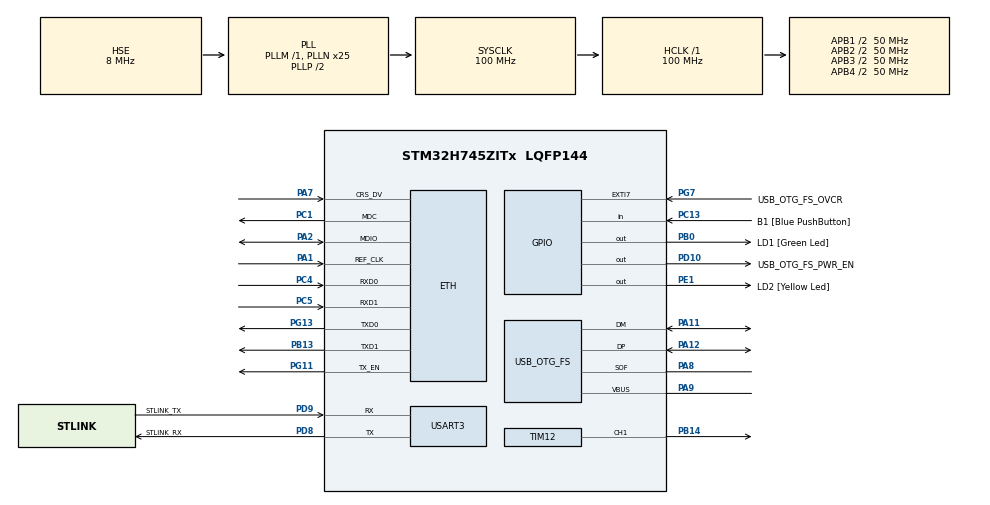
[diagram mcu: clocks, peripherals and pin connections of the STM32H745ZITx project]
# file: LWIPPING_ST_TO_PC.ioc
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CORTEX_M7.AccessPermission-Cortex_Memory_Protection_Unit_Region0_Settings=MPU_REGION_FULL_ACCESS
CORTEX_M7.AccessPermission-Cortex_Memory_Protection_Unit_Region1_Settings=MPU_REGION_FULL_ACCESS
CORTEX_M7.BaseAddress-Cortex_Memory_Protection_Unit_Region0_Settings=0x30040000
CORTEX_M7.BaseAddress-Cortex_Memory_Protection_Unit_Region1_Settings=0x30044000
CORTEX_M7.CPU_DCache=Enabled
CORTEX_M7.CPU_ICache=Enabled
CORTEX_M7.Enable-Cortex_Memory_Protection_Unit_Region0_Settings=MPU_REGION_ENABLE
CORTEX_M7.Enable-Cortex_Memory_Protection_Unit_Region1_Settings=MPU_REGION_ENABLE
CORTEX_M7.IsBufferable-Cortex_Memory_Protection_Unit_Region0_Settings=MPU_ACCESS_BUFFERABLE
CORTEX_M7.IsShareable-Cortex_Memory_Protection_Unit_Region1_Settings=MPU_ACCESS_SHAREABLE
CORTEX_M7.MPU_Control=MPU_PRIVILEGED_DEFAULT
CORTEX_M7.Size-Cortex_Memory_Protection_Unit_Region0_Settings=MPU_REGION_SIZE_256B
CORTEX_M7.Size-Cortex_Memory_Protection_Unit_Region1_Settings=MPU_REGION_SIZE_16KB
CORTEX_M7.TypeExtField-Cortex_Memory_Protection_Unit_Region1_Settings=MPU_TEX_LEVEL1
CortexM4.IPs=FATFS_M4\:I,FREERTOS_M4\:I,IWDG2\:I,RCC,WWDG2\:I,DMA,BDMA,MDMA,NVIC2\:I,USART3,ETH,DEBUG,USB_DEVICE_M4\:I,USB_HOST_M4\:I,PDM2PCM_M4\:I,PWR,RESMGR_UTILITY,SYS_M4\:I,CORTEX_M4\:I,OPENAMP_M4\:I,VREFBUF,GPIO
CortexM7.IPs=FATFS_M7\:I,FREERTOS_M7\:I,IWDG1\:I,RCC\:I,WWDG1\:I,DMA\:I,BDMA\:I,MDMA\:I,NVIC1\:I,SYS\:I,USART3\:I,USB_OTG_FS\:I,ETH\:I,CORTEX_M7\:I,DEBUG\:I,USB_DEVICE_M7\:I,USB_HOST_M7\:I,PDM2PCM_M7\:I,PWR\:I,RESMGR_UTILITY\:I,OPENAMP_M7\:I,VREFBUF\:I,GPIO\:I,LWIP\:I,TIM12\:I
ETH.MediaInterface=HAL_ETH_RMII_MODE
LWIP.ETHARP_SUPPORT_STATIC_ENTRIES=1
LWIP.GATEWAY_ADDRESS=000.000.000.000
LWIP.IP_ADDRESS=192.168.000.123
LWIP.LWIP_AUTOIP=1
LWIP.LWIP_BROADCAST_PING=1
LWIP.LWIP_DHCP=0
LWIP.LWIP_MIB2_CALLBACKS=0
LWIP.LWIP_MULTICAST_PING=1
LWIP.NETMASK_ADDRESS=255.255.255.000
LWIP.Version=v2.1.2_Cube
Mcu.Family=STM32H7
Mcu.Name=STM32H745ZITx
Mcu.Package=LQFP144
NVIC1.ETH_IRQn=true\:0\:0\:false\:false\:true\:true\:true\:true
NVIC1.PriorityGroup=NVIC_PRIORITYGROUP_4
NVIC2.PriorityGroup=NVIC_PRIORITYGROUP_4
PA1.Mode=RMII
PA1.PinAttribute=CortexM7
PA1.Signal=ETH_REF_CLK
PA11.Mode=Device_Only
PA11.PinAttribute=CortexM7
PA11.Signal=USB_OTG_FS_DM
PA12.Mode=Device_Only
PA12.PinAttribute=CortexM7
PA12.Signal=USB_OTG_FS_DP
PA2.Mode=RMII
PA2.PinAttribute=CortexM7
PA2.Signal=ETH_MDIO
PA7.Mode=RMII
PA7.PinAttribute=CortexM7
PA7.Signal=ETH_CRS_DV
PA8.Mode=Activate_SOF_FS
PA8.PinAttribute=CortexM7
PA8.Signal=USB_OTG_FS_SOF
PA9.Mode=Activate_VBUS
PA9.PinAttribute=CortexM7
PA9.Signal=USB_OTG_FS_VBUS
PB0.GPIO_Label=LD1 [Green Led]
PB0.PinAttribute=Free
PB0.Signal=GPIO_Output
PB13.Mode=RMII
PB13.PinAttribute=CortexM7
PB13.Signal=ETH_TXD1
PB14.PinAttribute=CortexM7
PB14.Signal=S_TIM12_CH1
PC1.Mode=RMII
PC1.PinAttribute=CortexM7
PC1.Signal=ETH_MDC
PC13.GPIO_Label=B1 [Blue PushButton]
PC13.PinAttribute=Free
PC13.Signal=GPIO_Input
PC14-OSC32_IN\ (OSC32_IN).Mode=LSE-External-Oscillator
PC14-OSC32_IN\ (OSC32_IN).PinAttribute=CortexM7
PC14-OSC32_IN\ (OSC32_IN).Signal=RCC_OSC32_IN
PC15-OSC32_OUT\ (OSC32_OUT).Mode=LSE-External-Oscillator
PC15-OSC32_OUT\ (OSC32_OUT).PinAttribute=CortexM7
PC15-OSC32_OUT\ (OSC32_OUT).Signal=RCC_OSC32_OUT
PC4.Mode=RMII
PC4.PinAttribute=CortexM7
PC4.Signal=ETH_RXD0
PC5.Mode=RMII
PC5.PinAttribute=CortexM7
PC5.Signal=ETH_RXD1
PD10.GPIO_Label=USB_OTG_FS_PWR_EN
PD10.PinAttribute=Free
PD10.Signal=GPIO_Output
PD8.GPIO_Label=STLINK_RX
PD8.Mode=Asynchronous
PD8.PinAttribute=CortexM7
PD8.Signal=USART3_TX
PD9.GPIO_Label=STLINK_TX
PD9.Mode=Asynchronous
PD9.PinAttribute=CortexM7
PD9.Signal=USART3_RX
PE1.GPIO_Label=LD2 [Yellow Led]
PE1.PinAttribute=Free
PE1.Signal=GPIO_Output
PG11.Mode=RMII
PG11.PinAttribute=CortexM7
PG11.Signal=ETH_TX_EN
PG13.Mode=RMII
PG13.PinAttribute=CortexM7
PG13.Signal=ETH_TXD0
PG7.GPIO_Label=USB_OTG_FS_OVCR
PG7.PinAttribute=Free
PG7.Signal=GPXTI7
PH0-OSC_IN\ (PH0).Mode=HSE-External-Clock-Source
PH0-OSC_IN\ (PH0).PinAttribute=CortexM7
PH0-OSC_IN\ (PH0).Signal=RCC_OSC_IN
PH1-OSC_OUT\ (PH1).PinAttribute=CortexM7
PH1-OSC_OUT\ (PH1).Signal=RCC_OSC_OUT
ProjectManager.HeapSize=M4-0x200,M7-0x200
ProjectManager.StackSize=M4-0x400,M7-0x400
ProjectManager.TargetToolchain=STM32CubeIDE
RCC.ADCFreq_Value=16125000
RCC.APB1Freq_Value=50000000
RCC.APB2Freq_Value=50000000
RCC.APB3Freq_Value=50000000
RCC.APB4Freq_Value=50000000
RCC.CortexFreq_Value=100000000
RCC.D1PPRE=RCC_APB3_DIV2
RCC.D2PPRE1=RCC_APB1_DIV2
RCC.D2PPRE2=RCC_APB2_DIV2
RCC.D3PPRE=RCC_APB4_DIV2
RCC.DIVM1=1
RCC.DIVM3=1
RCC.DIVN1=25
RCC.DIVN3=18
RCC.DIVQ3=3
RCC.HCLKFreq_Value=100000000
RCC.HSE_VALUE=8000000
RCC.PLL2FRACN=0
RCC.PLL3FRACN=6144
RCC.PLLFRACN=0
RCC.SYSCLKFreq_VALUE=100000000
RCC.SYSCLKSource=RCC_SYSCLKSOURCE_PLLCLK
RCC.SupplySource=PWR_DIRECT_SMPS_SUPPLY
RCC.USBCLockSelection=RCC_USBCLKSOURCE_PLL3
RCC.USBFreq_Value=50000000
SH.S_TIM12_CH1.0=TIM12_CH1,PWM Generation1 CH1
TIM12.Channel-PWM\ Generation1\ CH1=TIM_CHANNEL_1
TIM12.Period=2-1
TIM12.Prescaler=1-1
TIM12.Pulse-PWM\ Generation1\ CH1=1
USART3.VirtualMode-Asynchronous=VM_ASYNC
USB_OTG_FS.VirtualMode=Device_Only
VP_LWIP_VS_Enabled.Mode=Enabled
VP_SYS_M4_VS_Systick.Mode=SysTick
board=NUCLEO-H745ZI-Q

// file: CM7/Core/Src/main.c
/* USER CODE BEGIN Header */
/**
  ******************************************************************************
  * @file           : main.c
  * @brief          : Main program body
  ******************************************************************************
  * @attention
  *
  * Copyright (c) 2023 STMicroelectronics.
  * All rights reserved.
  *
  * This software is licensed under terms that can be found in the LICENSE file
  * in the root directory of this software component.
  * If no LICENSE file comes with this software, it is provided AS-IS.
  *
  ******************************************************************************
  */
/* USER CODE END Header */
#include "main.h"
#include "lwip.h"

/* USER CODE BEGIN Includes */
#include "lwip/icmp.h"
#include "lwip/inet_chksum.h"
#include "string.h"
#include <stdlib.h>
#include "lwip/etharp.h"
/* USER CODE END Includes */

/* USER CODE BEGIN PD */

#ifndef HSEM_ID_0
#define HSEM_ID_0 (0U) /* HW semaphore 0*/
#endif

/* USER CODE END PD */

TIM_HandleTypeDef htim12;

UART_HandleTypeDef huart3;

PCD_HandleTypeDef hpcd_USB_OTG_FS;

void SystemClock_Config(void);
static void MPU_Config(void);
static void MX_GPIO_Init(void);
static void MX_USB_OTG_FS_PCD_Init(void);
static void MX_USART3_UART_Init(void);
static void MX_TIM12_Init(void);

/* USER CODE BEGIN 0 */

void send_icmp_ping(struct netif *netif)
{
  struct pbuf *p;
  struct pbuf *q;

  struct icmp_echo_hdr *icmphdr;
  struct ip_hdr *iphdr;

  ip_addr_t src_ip, dest_ip;

  // Set the source and destination IP addresses
  IP4_ADDR(&src_ip, 192, 168, 0, 123);
  IP4_ADDR(&dest_ip, 192, 168, 0, 156);
  // Get the network interface for the desired IP address

  q = pbuf_alloc(PBUF_IP, sizeof(struct icmp_echo_hdr), PBUF_RAM);
  p = pbuf_alloc(PBUF_IP, sizeof(struct icmp_echo_hdr) + IP_HLEN,
                   PBUF_RAM);

  iphdr = (struct ip_hdr *)p->payload;
  icmphdr = (struct icmp_echo_hdr *)q->payload;

  // configure the icmp header fields
  icmphdr->type = 8;
  icmphdr->code = 0;
  icmphdr->id = 0x5555;
  icmphdr->seqno = 1;
  icmphdr->chksum = 0;
  icmphdr->chksum = inet_chksum(icmphdr, sizeof(struct icmp_echo_hdr));

  // configure the ip header fields
  iphdr->_ttl = 255;
  iphdr->src.addr = src_ip.addr;
  iphdr->dest.addr = dest_ip.addr;
  iphdr->_tos = 0;
  iphdr->_offset = 0;
  iphdr->_proto = 1;
  iphdr->_v_hl = 0x45;
  iphdr->_id = 0xABCD;
  iphdr->_len = htons(46);
  iphdr->_chksum = 0;
  iphdr->_chksum = inet_chksum(iphdr, IP_HLEN);

  SMEMCPY((u8_t *)p->payload + (IP_HLEN), (u8_t *)q->payload,
		  sizeof(struct icmp_echo_hdr));

  etharp_request(netif, &dest_ip);

  struct eth_addr mac_src;
  struct eth_addr mac_dst;  // Destination MAC address
  //uint8_t mac_dst_addr[6] = {0x00, 0x80, 0xE1, 0x00, 0x00, 0x01};
  //uint8_t mac_dst_addr[6] = {0x9C, 0x7B, 0xEF, 0xC3, 0x8D, 0xF3};
  uint8_t mac_dst_addr[6] = {0x06, 0x06, 0x06, 0x06, 0x06, 0x05};
  memcpy(mac_src.addr, netif->hwaddr, 6);
  memcpy(mac_dst.addr, mac_dst_addr, 6);
  u16_t eth_type = ETHTYPE_IP;  // Ethernet type for IP packets

 if(ethernet_output(netif, p, &mac_src, &mac_dst, eth_type) != ERR_OK){
	 pbuf_free(q);
	 pbuf_free(p);
	 return;
 }
}
/* USER CODE END 0 */

int main(void)
{
/* USER CODE BEGIN Boot_Mode_Sequence_0 */
  //int32_t timeout;
/* USER CODE END Boot_Mode_Sequence_0 */

  /* MPU Configuration--------------------------------------------------------*/
  MPU_Config();

  /* Enable I-Cache---------------------------------------------------------*/
  SCB_EnableICache();

  /* Enable D-Cache---------------------------------------------------------*/
  SCB_EnableDCache();

/* USER CODE BEGIN Boot_Mode_Sequence_1 */
//  /* Wait until CPU2 boots and enters in stop mode or timeout*/
//  timeout = 0xFFFF;
//  while((__HAL_RCC_GET_FLAG(RCC_FLAG_D2CKRDY) != RESET) && (timeout-- > 0));
//  if ( timeout < 0 )
//  {
//  Error_Handler();
//  }
/* USER CODE END Boot_Mode_Sequence_1 */
  /* MCU Configuration--------------------------------------------------------*/

  /* Reset of all peripherals, Initializes the Flash interface and the Systick. */
  HAL_Init();

  /* Configure the system clock */
  SystemClock_Config();
/* USER CODE BEGIN Boot_Mode_Sequence_2 */
/* When system initialization is finished, Cortex-M7 will release Cortex-M4 by means of
HSEM notification */
///*HW semaphore Clock enable*/
//__HAL_RCC_HSEM_CLK_ENABLE();
///*Take HSEM */
//HAL_HSEM_FastTake(HSEM_ID_0);
///*Release HSEM in order to notify the CPU2(CM4)*/
//HAL_HSEM_Release(HSEM_ID_0,0);
///* wait until CPU2 wakes up from stop mode */
//timeout = 0xFFFF;
//while((__HAL_RCC_GET_FLAG(RCC_FLAG_D2CKRDY) == RESET) && (timeout-- > 0));
//if ( timeout < 0 )
//{
//Error_Handler();
//}
/* USER CODE END Boot_Mode_Sequence_2 */

  /* Initialize all configured peripherals */
  MX_GPIO_Init();
  MX_USB_OTG_FS_PCD_Init();
  MX_LWIP_Init();
  MX_USART3_UART_Init();
  MX_TIM12_Init();
  /* USER CODE BEGIN 2 */
  HAL_TIM_PWM_Start(&htim12, TIM_CHANNEL_1);
  SCB_CleanInvalidateDCache();
  ip_addr_t src_ip, dest_ip;
  struct netif *netif;
  struct pbuf *r = NULL;

  // Set the source and destination IP addresses
  IP4_ADDR(&src_ip, 192, 168, 0, 123);
  IP4_ADDR(&dest_ip, 192, 168, 0, 156);
  netif = ip4_route_src(&src_ip, &dest_ip);
  r = pbuf_alloc(PBUF_RAW_TX, SIZEOF_ETHARP_HDR, PBUF_RAM);

  /* USER CODE END 2 */

  /* Infinite loop */
  while (1)
  {

    /* USER CODE BEGIN 3 */
	  //MX_LWIP_Process();
	  //send_icmp_ping();
	  netif = ip4_route_src(&src_ip, &dest_ip);
	  etharp_request(netif, &dest_ip);
	  HAL_Delay(2000);
	  //ethernet_input(r, netif);
	  MX_LWIP_Process();
	  send_icmp_ping(netif);
	  HAL_Delay(2000);
	  MX_LWIP_Process();

  }
  /* USER CODE END 3 */
}

void SystemClock_Config(void)
{
  RCC_OscInitTypeDef RCC_OscInitStruct = {0};
  RCC_ClkInitTypeDef RCC_ClkInitStruct = {0};

  /** Supply configuration update enable
  */
  HAL_PWREx_ConfigSupply(PWR_DIRECT_SMPS_SUPPLY);

  /** Configure the main internal regulator output voltage
  */
  __HAL_PWR_VOLTAGESCALING_CONFIG(PWR_REGULATOR_VOLTAGE_SCALE3);

  while(!__HAL_PWR_GET_FLAG(PWR_FLAG_VOSRDY)) {}

  /** Initializes the RCC Oscillators according to the specified parameters
  * in the RCC_OscInitTypeDef structure.
  */
  RCC_OscInitStruct.OscillatorType = RCC_OSCILLATORTYPE_HSE;
  RCC_OscInitStruct.HSEState = RCC_HSE_BYPASS;
  RCC_OscInitStruct.PLL.PLLState = RCC_PLL_ON;
  RCC_OscInitStruct.PLL.PLLSource = RCC_PLLSOURCE_HSE;
  RCC_OscInitStruct.PLL.PLLM = 1;
  RCC_OscInitStruct.PLL.PLLN = 25;
  RCC_OscInitStruct.PLL.PLLP = 2;
  RCC_OscInitStruct.PLL.PLLQ = 2;
  RCC_OscInitStruct.PLL.PLLR = 2;
  RCC_OscInitStruct.PLL.PLLRGE = RCC_PLL1VCIRANGE_3;
  RCC_OscInitStruct.PLL.PLLVCOSEL = RCC_PLL1VCOWIDE;
  RCC_OscInitStruct.PLL.PLLFRACN = 0;
  if (HAL_RCC_OscConfig(&RCC_OscInitStruct) != HAL_OK)
  {
    Error_Handler();
  }

  /** Initializes the CPU, AHB and APB buses clocks
  */
  RCC_ClkInitStruct.ClockType = RCC_CLOCKTYPE_HCLK|RCC_CLOCKTYPE_SYSCLK
                              |RCC_CLOCKTYPE_PCLK1|RCC_CLOCKTYPE_PCLK2
                              |RCC_CLOCKTYPE_D3PCLK1|RCC_CLOCKTYPE_D1PCLK1;
  RCC_ClkInitStruct.SYSCLKSource = RCC_SYSCLKSOURCE_PLLCLK;
  RCC_ClkInitStruct.SYSCLKDivider = RCC_SYSCLK_DIV1;
  RCC_ClkInitStruct.AHBCLKDivider = RCC_HCLK_DIV1;
  RCC_ClkInitStruct.APB3CLKDivider = RCC_APB3_DIV2;
  RCC_ClkInitStruct.APB1CLKDivider = RCC_APB1_DIV2;
  RCC_ClkInitStruct.APB2CLKDivider = RCC_APB2_DIV2;
  RCC_ClkInitStruct.APB4CLKDivider = RCC_APB4_DIV2;

  if (HAL_RCC_ClockConfig(&RCC_ClkInitStruct, FLASH_LATENCY_2) != HAL_OK)
  {
    Error_Handler();
  }
}

static void MX_TIM12_Init(void)
{

  TIM_MasterConfigTypeDef sMasterConfig = {0};
  TIM_OC_InitTypeDef sConfigOC = {0};

  htim12.Instance = TIM12;
  htim12.Init.Prescaler = 1-1;
  htim12.Init.CounterMode = TIM_COUNTERMODE_UP;
  htim12.Init.Period = 2-1;
  htim12.Init.ClockDivision = TIM_CLOCKDIVISION_DIV1;
  htim12.Init.AutoReloadPreload = TIM_AUTORELOAD_PRELOAD_DISABLE;
  if (HAL_TIM_PWM_Init(&htim12) != HAL_OK)
  {
    Error_Handler();
  }
  sMasterConfig.MasterOutputTrigger = TIM_TRGO_RESET;
  sMasterConfig.MasterSlaveMode = TIM_MASTERSLAVEMODE_DISABLE;
  if (HAL_TIMEx_MasterConfigSynchronization(&htim12, &sMasterConfig) != HAL_OK)
  {
    Error_Handler();
  }
  sConfigOC.OCMode = TIM_OCMODE_PWM1;
  sConfigOC.Pulse = 1;
  sConfigOC.OCPolarity = TIM_OCPOLARITY_HIGH;
  sConfigOC.OCFastMode = TIM_OCFAST_DISABLE;
  if (HAL_TIM_PWM_ConfigChannel(&htim12, &sConfigOC, TIM_CHANNEL_1) != HAL_OK)
  {
    Error_Handler();
  }
  HAL_TIM_MspPostInit(&htim12);

}

static void MX_USART3_UART_Init(void)
{

  huart3.Instance = USART3;
  huart3.Init.BaudRate = 115200;
  huart3.Init.WordLength = UART_WORDLENGTH_8B;
  huart3.Init.StopBits = UART_STOPBITS_1;
  huart3.Init.Parity = UART_PARITY_NONE;
  huart3.Init.Mode = UART_MODE_TX_RX;
  huart3.Init.HwFlowCtl = UART_HWCONTROL_NONE;
  huart3.Init.OverSampling = UART_OVERSAMPLING_16;
  huart3.Init.OneBitSampling = UART_ONE_BIT_SAMPLE_DISABLE;
  huart3.Init.ClockPrescaler = UART_PRESCALER_DIV1;
  huart3.AdvancedInit.AdvFeatureInit = UART_ADVFEATURE_NO_INIT;
  if (HAL_UART_Init(&huart3) != HAL_OK)
  {
    Error_Handler();
  }
  if (HAL_UARTEx_SetTxFifoThreshold(&huart3, UART_TXFIFO_THRESHOLD_1_8) != HAL_OK)
  {
    Error_Handler();
  }
  if (HAL_UARTEx_SetRxFifoThreshold(&huart3, UART_RXFIFO_THRESHOLD_1_8) != HAL_OK)
  {
    Error_Handler();
  }
  if (HAL_UARTEx_DisableFifoMode(&huart3) != HAL_OK)
  {
    Error_Handler();
  }

}

static void MX_USB_OTG_FS_PCD_Init(void)
{

  hpcd_USB_OTG_FS.Instance = USB_OTG_FS;
  hpcd_USB_OTG_FS.Init.dev_endpoints = 9;
  hpcd_USB_OTG_FS.Init.speed = PCD_SPEED_FULL;
  hpcd_USB_OTG_FS.Init.dma_enable = DISABLE;
  hpcd_USB_OTG_FS.Init.phy_itface = PCD_PHY_EMBEDDED;
  hpcd_USB_OTG_FS.Init.Sof_enable = DISABLE;
  hpcd_USB_OTG_FS.Init.low_power_enable = DISABLE;
  hpcd_USB_OTG_FS.Init.lpm_enable = DISABLE;
  hpcd_USB_OTG_FS.Init.battery_charging_enable = ENABLE;
  hpcd_USB_OTG_FS.Init.vbus_sensing_enable = ENABLE;
  hpcd_USB_OTG_FS.Init.use_dedicated_ep1 = DISABLE;
  if (HAL_PCD_Init(&hpcd_USB_OTG_FS) != HAL_OK)
  {
    Error_Handler();
  }

}

static void MX_GPIO_Init(void)
{

  /* GPIO Ports Clock Enable */
  __HAL_RCC_GPIOC_CLK_ENABLE();
  __HAL_RCC_GPIOH_CLK_ENABLE();
  __HAL_RCC_GPIOA_CLK_ENABLE();
  __HAL_RCC_GPIOB_CLK_ENABLE();
  __HAL_RCC_GPIOD_CLK_ENABLE();
  __HAL_RCC_GPIOG_CLK_ENABLE();

}

/* USER CODE BEGIN 4 */
int _write(int file, char *ptr, int len){
	int var;
	for (var = 0; var < len; ++var) {
		ITM_SendChar(*ptr++);
	}
	return len;
}
/* USER CODE END 4 */

/* MPU Configuration */

void MPU_Config(void)
{
  MPU_Region_InitTypeDef MPU_InitStruct = {0};

  /* Disables the MPU */
  HAL_MPU_Disable();

  /** Initializes and configures the Region and the memory to be protected
  */
  MPU_InitStruct.Enable = MPU_REGION_ENABLE;
  MPU_InitStruct.Number = MPU_REGION_NUMBER0;
  MPU_InitStruct.BaseAddress = 0x30040000;
  MPU_InitStruct.Size = MPU_REGION_SIZE_256B;
  MPU_InitStruct.SubRegionDisable = 0x0;
  MPU_InitStruct.TypeExtField = MPU_TEX_LEVEL0;
  MPU_InitStruct.AccessPermission = MPU_REGION_FULL_ACCESS;
  MPU_InitStruct.DisableExec = MPU_INSTRUCTION_ACCESS_ENABLE;
  MPU_InitStruct.IsShareable = MPU_ACCESS_NOT_SHAREABLE;
  MPU_InitStruct.IsCacheable = MPU_ACCESS_NOT_CACHEABLE;
  MPU_InitStruct.IsBufferable = MPU_ACCESS_BUFFERABLE;

  HAL_MPU_ConfigRegion(&MPU_InitStruct);

  /** Initializes and configures the Region and the memory to be protected
  */
  MPU_InitStruct.Number = MPU_REGION_NUMBER1;
  MPU_InitStruct.BaseAddress = 0x30044000;
  MPU_InitStruct.Size = MPU_REGION_SIZE_16KB;
  MPU_InitStruct.TypeExtField = MPU_TEX_LEVEL1;
  MPU_InitStruct.IsShareable = MPU_ACCESS_SHAREABLE;
  MPU_InitStruct.IsBufferable = MPU_ACCESS_NOT_BUFFERABLE;

  HAL_MPU_ConfigRegion(&MPU_InitStruct);
  /* Enables the MPU */
  HAL_MPU_Enable(MPU_PRIVILEGED_DEFAULT);

}

void Error_Handler(void)
{
  __disable_irq();
  while (1)
  {
  }
}
